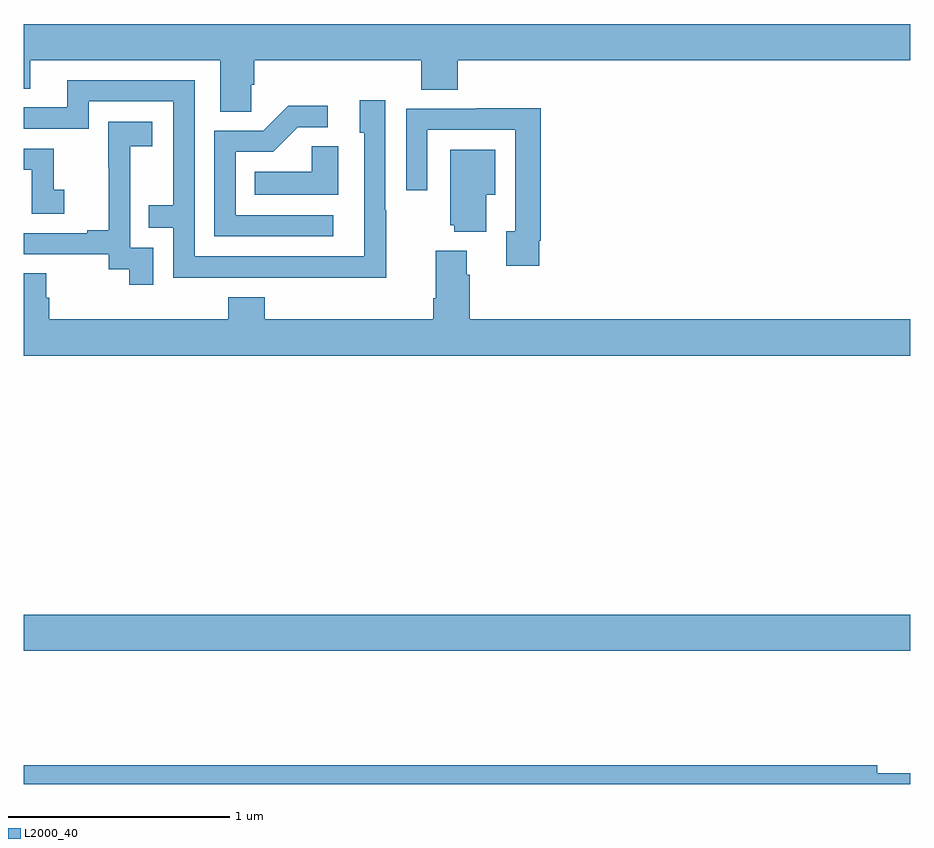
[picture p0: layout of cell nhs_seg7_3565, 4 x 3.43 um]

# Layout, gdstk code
import gdstk
lib = gdstk.Library(unit=1e-6, precision=1e-09)
def R(c, l, rs):  # rectangles x0, y0, x1, y1
    for r in rs: c.add(gdstk.rectangle(r[:2], r[2:], *l))
def P(c, l, *ps):  # polygons
    for p in ps: c.add(gdstk.Polygon(p, *l))
L2000_40 = (2000, 40)

nhs_seg7_3565 = lib.new_cell('nhs_seg7_3565')
R(nhs_seg7_3565, L2000_40, [(339,1016.6,343,1016.764)])
P(nhs_seg7_3565, L2000_40, [(340.026,1019.155),(340.04,1019.155),(340.04,1019.264),(340.793,1019.264),(340.793,1019.131),(340.958,1019.131),(340.958,1019.264),(343,1019.264),(343,1019.428),(339,1019.428),(339,1019.137),(339.031,1019.137),(339.031,1019.264),(339.887,1019.264),(339.887,1019.032),(340.026,1019.032)],
  [(340.635,1018.589),(340.632,1018.589),(340.632,1019.083),(340.517,1019.083),(340.517,1018.938),(340.536,1018.938),(340.536,1018.38),(339.771,1018.38),(339.771,1019.175),(339.197,1019.175),(339.197,1019.052),(339,1019.052),(339,1018.956),(339.294,1018.956),(339.294,1019.079),(339.675,1019.079),(339.675,1018.61),(339.565,1018.61),(339.565,1018.509),(339.675,1018.509),(339.675,1018.284),(340.171,1018.284),(340.171,1018.283),(340.635,1018.283)],
  [(340.396,1018.566),(339.957,1018.566),(339.957,1018.851),(340.126,1018.851),(340.237,1018.962),(340.372,1018.962),(340.372,1019.06),(340.193,1019.06),(340.08,1018.947),(339.861,1018.947),(339.861,1018.47),(340.396,1018.47)],
  [(341.326,1018.45),(341.333,1018.45),(341.333,1019.048),(341.041,1019.048),(341.041,1019.046),(340.725,1019.046),(340.725,1018.677),(340.821,1018.677),(340.821,1018.95),(341.217,1018.95),(341.217,1018.494),(341.177,1018.494),(341.177,1018.338),(341.326,1018.338)],
  [(339.585,1018.419),(339.48,1018.419),(339.48,1018.649),(339.482,1018.649),(339.482,1018.877),(339.58,1018.877),(339.58,1018.987),(339.382,1018.987),(339.382,1018.781),(339.383,1018.781),(339.383,1018.498),(339.287,1018.498),(339.287,1018.485),(339,1018.485),(339,1018.389),(339.384,1018.389),(339.384,1018.321),(339.477,1018.321),(339.477,1018.251),(339.585,1018.251)],
  [(340.42,1018.877),(340.299,1018.877),(340.299,1018.762),(340.042,1018.762),(340.042,1018.658),(340.42,1018.658)],
  [(339.184,1018.681),(339.135,1018.681),(339.135,1018.866),(339,1018.866),(339,1018.77),(339.036,1018.77),(339.036,1018.572),(339.184,1018.572)],
  [(341.086,1018.658),(341.128,1018.658),(341.128,1018.861),(340.925,1018.861),(340.925,1018.521),(340.943,1018.521),(340.943,1018.49),(341.086,1018.49)],
  [(343,1018.096),(341.012,1018.096),(341.012,1018.298),(340.999,1018.298),(340.999,1018.405),(340.859,1018.405),(340.859,1018.192),(340.847,1018.192),(340.847,1018.096),(340.088,1018.096),(340.088,1018.195),(339.923,1018.195),(339.923,1018.096),(339.116,1018.096),(339.116,1018.194),(339.103,1018.194),(339.103,1018.304),(339,1018.304),(339,1017.932),(343,1017.932)],
  [(343,1016.048),(342.85,1016.048),(342.85,1016.084),(339,1016.084),(339,1016),(343,1016)])

lib.write_gds('nhs_seg7_3565.gds')
